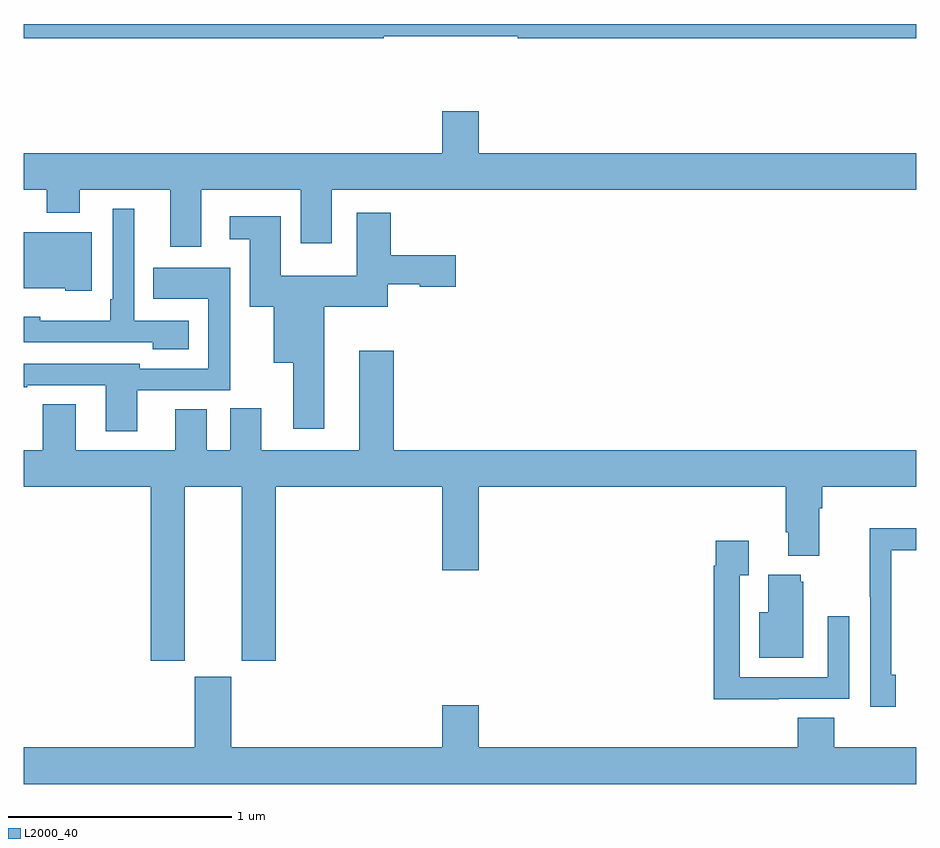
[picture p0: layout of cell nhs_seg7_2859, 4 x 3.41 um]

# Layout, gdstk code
import gdstk
lib = gdstk.Library(unit=1e-6, precision=1e-09)
def P(c, l, *ps):  # polygons
    for p in ps: c.add(gdstk.Polygon(p, *l))
L2000_40 = (2000, 40)

nhs_seg7_2859 = lib.new_cell('nhs_seg7_2859')
P(nhs_seg7_2859, L2000_40, [(296.614,1027.944),(297.214,1027.944),(297.214,1027.936),(299,1027.936),(299,1028),(295,1028),(295,1027.936),(296.614,1027.936)],
  [(295.795,1027.256),(296.24,1027.256),(296.24,1027.017),(296.38,1027.017),(296.38,1027.256),(299,1027.256),(299,1027.42),(297.04,1027.42),(297.04,1027.609),(296.876,1027.609),(296.876,1027.42),(295,1027.42),(295,1027.256),(295.102,1027.256),(295.102,1027.154),(295.249,1027.154),(295.249,1027.256),(295.655,1027.256),(295.655,1027.002),(295.795,1027.002)],
  [(295.738,1026.669),(295.494,1026.669),(295.494,1027.171),(295.398,1027.171),(295.398,1026.766),(295.386,1026.766),(295.386,1026.67),(295.074,1026.67),(295.074,1026.688),(295,1026.688),(295,1026.573),(295.577,1026.573),(295.577,1026.542),(295.738,1026.542)],
  [(296.347,1026.731),(296.632,1026.731),(296.632,1026.833),(296.775,1026.833),(296.775,1026.821),(296.935,1026.821),(296.935,1026.963),(296.645,1026.963),(296.645,1027.153),(296.492,1027.153),(296.492,1026.871),(296.152,1026.871),(296.152,1027.138),(295.923,1027.138),(295.923,1027.034),(296.012,1027.034),(296.012,1026.731),(296.12,1026.731),(296.12,1026.482),(296.207,1026.482),(296.207,1026.186),(296.347,1026.186)],
  [(295.303,1027.066),(295,1027.066),(295,1026.815),(295.185,1026.815),(295.185,1026.803),(295.303,1026.803)],
  [(295.507,1026.357),(295.925,1026.357),(295.925,1026.907),(295.579,1026.907),(295.579,1026.767),(295.827,1026.767),(295.827,1026.453),(295.518,1026.453),(295.518,1026.477),(295,1026.477),(295,1026.37),(295.014,1026.37),(295.014,1026.381),(295.367,1026.381),(295.367,1026.173),(295.507,1026.173)],
  [(295.72,1025.924),(295.976,1025.924),(295.976,1025.145),(296.129,1025.145),(296.129,1025.924),(296.876,1025.924),(296.876,1025.55),(297.04,1025.55),(297.04,1025.924),(298.415,1025.924),(298.415,1025.722),(298.427,1025.722),(298.427,1025.615),(298.567,1025.615),(298.567,1025.828),(298.58,1025.828),(298.58,1025.924),(299,1025.924),(299,1026.088),(296.657,1026.088),(296.657,1026.535),(296.504,1026.535),(296.504,1026.088),(296.065,1026.088),(296.065,1026.276),(295.926,1026.276),(295.926,1026.088),(295.819,1026.088),(295.819,1026.272),(295.679,1026.272),(295.679,1026.088),(295.231,1026.088),(295.231,1026.295),(295.084,1026.295),(295.084,1026.088),(295,1026.088),(295,1025.924),(295.568,1025.924),(295.568,1025.145),(295.72,1025.145)],
  [(298.909,1025.082),(298.89,1025.082),(298.89,1025.64),(299,1025.64),(299,1025.738),(298.792,1025.738),(298.792,1025.431),(298.794,1025.431),(298.794,1024.938),(298.909,1024.938)],
  [(298.385,1024.974),(298.701,1024.974),(298.701,1025.344),(298.605,1025.344),(298.605,1025.07),(298.209,1025.07),(298.209,1025.527),(298.249,1025.527),(298.249,1025.683),(298.101,1025.683),(298.101,1025.57),(298.093,1025.57),(298.093,1024.973),(298.385,1024.973)],
  [(298.495,1025.499),(298.484,1025.499),(298.484,1025.53),(298.337,1025.53),(298.337,1025.362),(298.298,1025.362),(298.298,1025.159),(298.495,1025.159)],
  [(299,1024.756),(298.634,1024.756),(298.634,1024.889),(298.469,1024.889),(298.469,1024.756),(297.04,1024.756),(297.04,1024.945),(296.876,1024.945),(296.876,1024.756),(295.93,1024.756),(295.93,1025.073),(295.766,1025.073),(295.766,1024.756),(295,1024.756),(295,1024.592),(299,1024.592)])

lib.write_gds('nhs_seg7_2859.gds')
